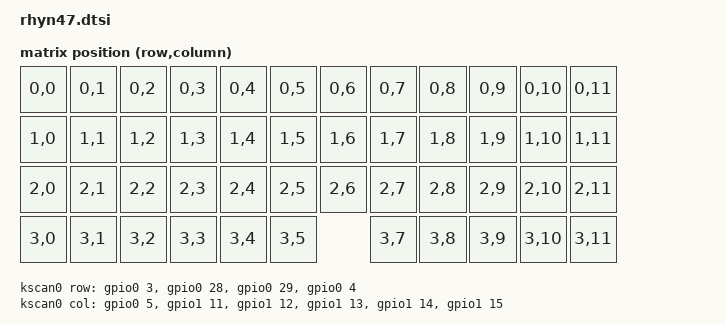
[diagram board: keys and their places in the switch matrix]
/*
 * rhyn47 (split-wireless) 共通定義
 *
 * 左右で同一のドーター基板（XIAO nRF52840 Plus + 電源）を使うため、
 * kscan・matrix-transform・電池監視はここに1回だけ書く。
 * 左右差（col-offset / トラックボール）は *_left.overlay / *_right.overlay で。
 *
 * 設計書: wireless-rhyn-design.md §4, §7 / 実装ノート: zmk-implementation-notes.md §3-§5, §8
 */

#include <dt-bindings/zmk/matrix_transform.h>
#include <zephyr/dt-bindings/gpio/gpio.h>
#include <zephyr/dt-bindings/adc/adc.h>
#include <zephyr/dt-bindings/adc/nrf-adc.h>

/ {
    chosen {
        zmk,kscan = &kscan0;
        zmk,matrix-transform = &default_transform;
        zmk,battery = &vbatt_ext;
    };

    /*
     * マトリクス 4行 × 6列（片側24キー）
     * ダイオードは全キー同じ向き = col2row。外部プルアップ抵抗なし（内蔵プル使用）。
     *
     * ⚠ col2row では ROW=入力かつ内蔵プル"ダウン" / COL=出力 ACTIVE_HIGH になる
     *   （設計書 §12.7 の「内蔵プルアップ」は「外部抵抗なし」の意で読むこと）。
     *   実基板のダイオード向きが逆だったら row2col + PULL_UP / ACTIVE_LOW に変更。
     */
    kscan0: kscan {
        compatible = "zmk,kscan-gpio-matrix";
        diode-direction = "col2row";
        wakeup-source;

        row-gpios
            = <&gpio0  3 (GPIO_ACTIVE_HIGH | GPIO_PULL_DOWN)>   // ROW0 = D1 / P0.03
            , <&gpio0 28 (GPIO_ACTIVE_HIGH | GPIO_PULL_DOWN)>   // ROW1 = D2 / P0.28
            , <&gpio0 29 (GPIO_ACTIVE_HIGH | GPIO_PULL_DOWN)>   // ROW2 = D3 / P0.29
            , <&gpio0  4 (GPIO_ACTIVE_HIGH | GPIO_PULL_DOWN)>   // ROW3 = D4 / P0.04
            ;

        col-gpios
            = <&gpio0  5 GPIO_ACTIVE_HIGH>   // COL0 = D5  / P0.05
            , <&gpio1 11 GPIO_ACTIVE_HIGH>   // COL1 = D6  / P1.11
            , <&gpio1 12 GPIO_ACTIVE_HIGH>   // COL2 = D7  / P1.12
            , <&gpio1 13 GPIO_ACTIVE_HIGH>   // COL3 = D8  / P1.13
            , <&gpio1 14 GPIO_ACTIVE_HIGH>   // COL4 = D9  / P1.14
            , <&gpio1 15 GPIO_ACTIVE_HIGH>   // COL5 = D10 / P1.15
            ;
    };

    /*
     * 論理グリッド 4行 × 12列。左=列0-5 / 右=列6-11（右 overlay で col-offset=6）。
     * 右手の最下段・最内側 RC(3,6) がトラックボール位置なので map から省く。
     *   → 総キー数 47（左24 + 右23）。QMK 版 keymap.c の row3 index6 = KC_NO と一致。
     *
     * バインド順は下の map の並び順そのまま。row0=12 / row1=12 / row2=12 / row3=11。
     */
    default_transform: keymap_transform_0 {
        compatible = "zmk,matrix-transform";
        columns = <12>;
        rows = <4>;
        //          左手 (col 0-5)                            右手 (col 6-11)
        map = <
RC(0,0) RC(0,1) RC(0,2) RC(0,3) RC(0,4) RC(0,5)   RC(0,6) RC(0,7) RC(0,8) RC(0,9) RC(0,10) RC(0,11)
RC(1,0) RC(1,1) RC(1,2) RC(1,3) RC(1,4) RC(1,5)   RC(1,6) RC(1,7) RC(1,8) RC(1,9) RC(1,10) RC(1,11)
RC(2,0) RC(2,1) RC(2,2) RC(2,3) RC(2,4) RC(2,5)   RC(2,6) RC(2,7) RC(2,8) RC(2,9) RC(2,10) RC(2,11)
RC(3,0) RC(3,1) RC(3,2) RC(3,3) RC(3,4) RC(3,5)           RC(3,7) RC(3,8) RC(3,9) RC(3,10) RC(3,11)
        >;                                     /* ↑ RC(3,6) = トラックボール */
    };

    /*
     * 電池電圧監視（設計書 §4, §7 / 実装ノート §8）
     * 単4×1 の生電圧を外部分圧 1MΩ / 470kΩ で A0 (P0.02 = AIN0) に入れる。
     * power-gpios なし（常時ONの分圧、約1µA）。
     */
    vbatt_ext: vbatt_ext {
        compatible = "zmk,battery-voltage-divider";
        io-channels = <&adc 0>;
        output-ohms = <470000>;
        full-ohms = <(1000000 + 470000)>;
    };
};

/* ボード標準のオンボード分圧（P0.31 / P0.14 制御）は使わないので止める */
&vbatt {
    status = "disabled";
};

&adc {
    status = "okay";
    #address-cells = <1>;
    #size-cells = <0>;

    /* AIN0 = P0.02 = D0。ビルドが通らなければこの channel@0 ごと削って
       ボード標準 vbatt と同じ「io-channels だけ」の書式に戻す（実装ノート §8）。 */
    channel@0 {
        reg = <0>;
        zephyr,gain = "ADC_GAIN_1_6";              /* フルスケール 0.6V × 6 = 3.6V */
        zephyr,reference = "ADC_REF_INTERNAL";     /* 0.6V */
        zephyr,acquisition-time = <ADC_ACQ_TIME(ADC_ACQ_TIME_MICROSECONDS, 10)>;
        zephyr,input-positive = <NRF_SAADC_AIN0>;
        zephyr,resolution = <12>;
    };
};
